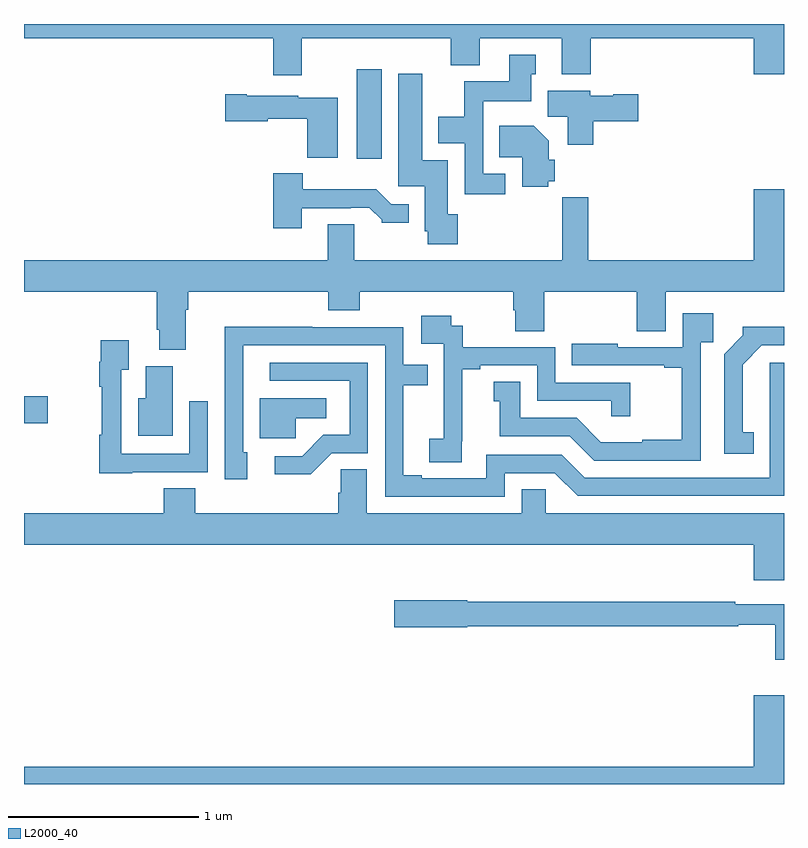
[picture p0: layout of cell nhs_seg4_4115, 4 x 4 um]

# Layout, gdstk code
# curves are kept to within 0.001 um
import gdstk
lib = gdstk.Library(unit=1e-6, precision=1e-09)
def R(c, l, rs):  # rectangles x0, y0, x1, y1
    for r in rs: c.add(gdstk.rectangle(r[:2], r[2:], *l))
def P(c, l, *ps):  # polygons
    for p in ps: c.add(gdstk.Polygon(p, *l))
L2000_40 = (2000, 40)

nhs_seg4_4115 = lib.new_cell('nhs_seg4_4115')
R(nhs_seg4_4115, L2000_40, [(329,790.798,329.125,790.94), (330.752,792.192,330.883,792.661)])
P(nhs_seg4_4115, L2000_40, [(330.463,792.824),(331.247,792.824),(331.247,792.683),(331.399,792.683),(331.399,792.824),(331.829,792.824),(331.829,792.635),(331.982,792.635),(331.982,792.824),(332.84,792.824),(332.84,792.636),(333,792.636),(333,792.9),(329,792.9),(329,792.824),(330.311,792.824),(330.311,792.63),(330.463,792.63)],
  [(331.534,792.111),(331.416,792.111),(331.416,792.494),(331.669,792.494),(331.669,792.636),(331.693,792.636),(331.693,792.739),(331.553,792.739),(331.553,792.598),(331.318,792.598),(331.318,792.412),(331.181,792.412),(331.181,792.272),(331.32,792.272),(331.32,792.003),(331.534,792.003)],
  [(331.283,791.898),(331.231,791.898),(331.231,792.184),(331.096,792.184),(331.096,792.637),(330.971,792.637),(330.971,792.045),(331.109,792.045),(331.109,791.808),(331.126,791.808),(331.126,791.742),(331.283,791.742)],
  [(331.997,792.389),(332.233,792.389),(332.233,792.531),(332.1,792.531),(332.1,792.523),(331.98,792.523),(331.98,792.55),(331.757,792.55),(331.757,792.412),(331.862,792.412),(331.862,792.264),(331.997,792.264)],
  [(330.652,792.511),(330.444,792.511),(330.444,792.523),(330.172,792.523),(330.172,792.531),(330.06,792.531),(330.06,792.389),(330.282,792.389),(330.282,792.401),(330.49,792.401),(330.49,792.197),(330.652,792.197)],
  [(331.758,792.072),(331.793,792.072),(331.793,792.186),(331.762,792.186),(331.762,792.286),(331.684,792.364),(331.501,792.364),(331.501,792.2),(331.622,792.2),(331.622,792.043),(331.758,792.043)],
  [(330.463,791.931),(330.719,791.931),(330.719,791.934),(330.818,791.934),(330.882,791.87),(330.882,791.855),(331.024,791.855),(331.024,791.952),(330.933,791.952),(330.855,792.031),(330.466,792.031),(330.466,792.115),(330.311,792.115),(330.311,791.826),(330.463,791.826)],
  [(329.851,791.396),(329.864,791.396),(329.864,791.492),(330.602,791.492),(330.602,791.393),(330.767,791.393),(330.767,791.492),(331.574,791.492),(331.574,791.394),(331.586,791.394),(331.586,791.284),(331.739,791.284),(331.739,791.492),(332.225,791.492),(332.225,791.284),(332.377,791.284),(332.377,791.492),(333,791.492),(333,792.031),(332.84,792.031),(332.84,791.656),(331.97,791.656),(331.97,791.989),(331.834,791.989),(331.834,791.656),(330.739,791.656),(330.739,791.846),(330.599,791.846),(330.599,791.656),(329,791.656),(329,791.492),(329.699,791.492),(329.699,791.29),(329.711,791.29),(329.711,791.185),(329.851,791.185)],
  [(332.562,791.225),(332.627,791.225),(332.627,791.377),(332.466,791.377),(332.466,791.199),(332.125,791.199),(332.125,791.218),(331.882,791.218),(331.882,791.103),(332.369,791.103),(332.369,791.091),(332.461,791.091),(332.461,790.711),(332.255,790.711),(332.255,790.699),(332.036,790.699),(331.908,790.827),(331.612,790.827),(331.612,791.018),(331.472,791.018),(331.472,790.915),(331.505,790.915),(331.505,790.731),(331.872,790.731),(332.001,790.602),(332.562,790.602)],
  [(331.304,790.705),(331.306,790.705),(331.306,791.083),(331.402,791.083),(331.402,791.103),(331.701,791.103),(331.701,790.917),(332.091,790.917),(332.091,790.836),(332.192,790.836),(332.192,791.013),(331.797,791.013),(331.797,791.199),(331.31,791.199),(331.31,791.313),(331.248,791.313),(331.248,791.365),(331.092,791.365),(331.092,791.217),(331.209,791.217),(331.209,790.913),(331.208,790.913),(331.208,790.716),(331.134,790.716),(331.134,790.594),(331.304,790.594)],
  [(332.84,790.751),(332.782,790.751),(332.782,791.107),(332.883,791.208),(333,791.208),(333,791.306),(332.784,791.306),(332.784,791.261),(332.685,791.162),(332.685,790.638),(332.84,790.638)],
  [(331.53,790.536),(331.794,790.536),(331.914,790.416),(333,790.416),(333,791.116),(332.924,791.116),(332.925,790.512),(331.95,790.512),(331.83,790.632),(331.434,790.632),(331.434,790.509),(331.093,790.509),(331.093,790.524),(330.997,790.524),(330.997,790.998),(331.124,790.998),(331.124,791.106),(330.996,791.106),(330.996,791.304),(330.518,791.304),(330.518,791.306),(330.056,791.306),(330.057,790.503),(330.175,790.503),(330.175,790.647),(330.153,790.647),(330.153,791.208),(330.9,791.208),(330.9,790.413),(331.53,790.413)],
  [(329.571,790.542),(329.967,790.542),(329.967,790.915),(329.871,790.915),(329.871,790.638),(329.511,790.638),(329.511,791.08),(329.551,791.08),(329.551,791.236),(329.403,791.236),(329.403,791.123),(329.395,791.123),(329.395,790.991),(329.41,790.991),(329.41,790.739),(329.395,790.739),(329.395,790.535),(329.571,790.535)],
  [(330.621,790.641),(330.81,790.641),(330.81,791.118),(330.294,791.118),(330.294,791.022),(330.714,791.022),(330.714,790.737),(330.576,790.737),(330.465,790.626),(330.321,790.626),(330.321,790.529),(330.508,790.529)],
  [(329.782,791.1),(329.642,791.1),(329.642,790.93),(329.6,790.93),(329.6,790.733),(329.782,790.733)],
  [(330.429,790.826),(330.592,790.826),(330.592,790.93),(330.242,790.93),(330.242,790.719),(330.429,790.719)],
  [(333,790.324),(331.746,790.324),(331.746,790.451),(331.619,790.451),(331.619,790.324),(330.805,790.324),(330.805,790.556),(330.666,790.556),(330.666,790.433),(330.653,790.433),(330.653,790.324),(329.9,790.324),(329.9,790.457),(329.735,790.457),(329.735,790.324),(329,790.324),(329,790.16),(332.84,790.16),(332.84,789.972),(333,789.972)],
  [(333,789.846),(332.744,789.846),(332.744,789.859),(331.332,789.859),(331.332,789.867),(330.948,789.867),(330.948,789.725),(331.332,789.725),(331.332,789.73),(332.758,789.73),(332.758,789.738),(332.954,789.738),(332.954,789.554),(333,789.554)],
  [(333,789.367),(332.84,789.367),(332.84,788.992),(329,788.992),(329,788.9),(333,788.9)])

lib.write_gds('nhs_seg4_4115.gds')
